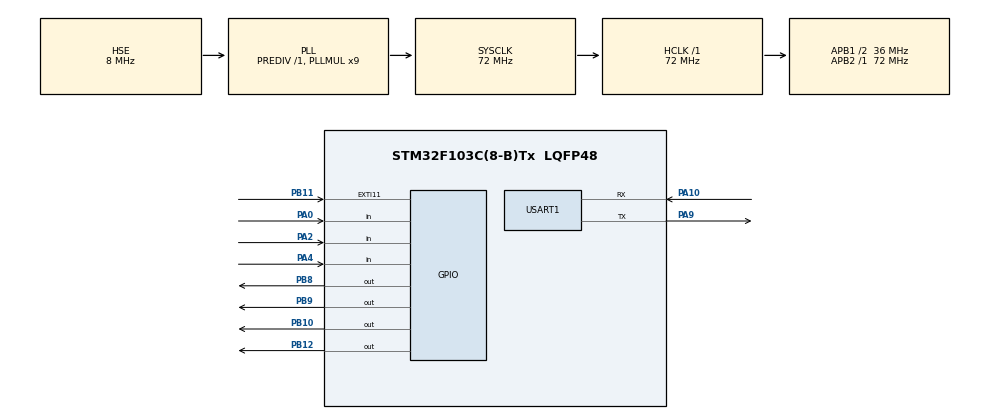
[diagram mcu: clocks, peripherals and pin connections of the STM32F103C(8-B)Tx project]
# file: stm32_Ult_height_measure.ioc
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Mcu.Family=STM32F1
Mcu.Name=STM32F103C(8-B)Tx
Mcu.Package=LQFP48
NVIC.EXTI15_10_IRQn=true\:0\:0\:true\:false\:true\:true\:true\:true
NVIC.PriorityGroup=NVIC_PRIORITYGROUP_4
NVIC.TIM2_IRQn=true\:0\:0\:false\:false\:true\:true\:true\:true
NVIC.TIM3_IRQn=true\:0\:0\:false\:false\:true\:true\:true\:true
NVIC.TIM4_IRQn=true\:0\:0\:false\:false\:true\:true\:true\:true
PA0-WKUP.GPIO_PuPd=GPIO_PULLUP
PA0-WKUP.Signal=GPIO_Input
PA10.Mode=Asynchronous
PA10.Signal=USART1_RX
PA13.Mode=Serial_Wire
PA13.Signal=SYS_JTMS-SWDIO
PA14.Mode=Serial_Wire
PA14.Signal=SYS_JTCK-SWCLK
PA2.GPIO_PuPd=GPIO_PULLUP
PA2.Signal=GPIO_Input
PA4.GPIO_PuPd=GPIO_PULLUP
PA4.Signal=GPIO_Input
PA9.Mode=Asynchronous
PA9.Signal=USART1_TX
PB10.GPIO_PuPd=GPIO_NOPULL
PB10.Signal=GPIO_Output
PB11.GPIO_ModeDefaultEXTI=GPIO_MODE_IT_RISING_FALLING
PB11.GPIO_PuPd=GPIO_PULLDOWN
PB11.Signal=GPXTI11
PB12.GPIO_PuPd=GPIO_PULLUP
PB12.Signal=GPIO_Output
PB8.GPIO_ModeDefaultOutputPP=GPIO_MODE_OUTPUT_OD
PB8.GPIO_PuPd=GPIO_NOPULL
PB8.Signal=GPIO_Output
PB9.GPIO_ModeDefaultOutputPP=GPIO_MODE_OUTPUT_OD
PB9.GPIO_PuPd=GPIO_NOPULL
PB9.Signal=GPIO_Output
PD0-OSC_IN.Mode=HSE-External-Oscillator
PD0-OSC_IN.Signal=RCC_OSC_IN
PD1-OSC_OUT.Mode=HSE-External-Oscillator
PD1-OSC_OUT.Signal=RCC_OSC_OUT
ProjectManager.HeapSize=0x200
ProjectManager.StackSize=0x400
ProjectManager.TargetToolchain=STM32CubeIDE
RCC.AHBFreq_Value=72000000
RCC.APB1CLKDivider=RCC_HCLK_DIV2
RCC.APB1Freq_Value=36000000
RCC.APB1TimFreq_Value=72000000
RCC.APB2Freq_Value=72000000
RCC.APB2TimFreq_Value=72000000
RCC.HCLKFreq_Value=72000000
RCC.PLLMUL=RCC_PLL_MUL9
RCC.PLLSourceVirtual=RCC_PLLSOURCE_HSE
RCC.SYSCLKFreq_VALUE=72000000
RCC.SYSCLKSource=RCC_SYSCLKSOURCE_PLLCLK
RCC.USBFreq_Value=72000000
TIM1.Prescaler=72
TIM3.AutoReloadPreload=TIM_AUTORELOAD_PRELOAD_ENABLE
TIM3.Period=100 - 1
TIM3.Prescaler=\ 720 - 1
TIM4.AutoReloadPreload=TIM_AUTORELOAD_PRELOAD_ENABLE
TIM4.Period=10000 - 1
TIM4.Prescaler=7200 - 1
USART1.VirtualMode=VM_ASYNC
VP_TIM1_VS_ClockSourceINT.Mode=Internal
VP_TIM2_VS_ClockSourceINT.Mode=Internal
VP_TIM3_VS_ClockSourceINT.Mode=Internal
VP_TIM4_VS_ClockSourceINT.Mode=Internal
board=custom

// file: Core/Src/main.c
/* USER CODE BEGIN Header */
/**
  ******************************************************************************
  * @file           : main.c
  * @brief          : Main program body
  ******************************************************************************
  * @attention
  *
  * Copyright (c) 2026 STMicroelectronics.
  * All rights reserved.
  *
  * This software is licensed under terms that can be found in the LICENSE file
  * in the root directory of this software component.
  * If no LICENSE file comes with this software, it is provided AS-IS.
  *
  ******************************************************************************
  */
/* USER CODE END Header */
#include "main.h"
#include "tim.h"
#include "usart.h"
#include "gpio.h"

/* USER CODE BEGIN Includes */
#include "OLED.h"
#include "key.h"
#include "menu.h"
#include "SR_04.h"
/* USER CODE END Includes */

/* USER CODE BEGIN PV */
uint32_t distance = 0;
uint8_t countcount = 0;
uint8_t KeyNum1;
uint8_t shutdown_flag = 0;//息屏标志位

extern uint8_t Mode_Flag;
//volatile
float single_height_data[3] = {0};
float multi_height_data[3] = {0};
uint8_t sec_count = 0;//无操作计时

volatile uint8_t Home_Flag = First_Home;
uint8_t Home_Flag_Record = First_Home;//用于回到息屏前的界面

/* USER CODE END PV */

void SystemClock_Config(void);

int main(void)
{

  /* MCU Configuration--------------------------------------------------------*/

  /* Reset of all peripherals, Initializes the Flash interface and the Systick. */
  HAL_Init();

  /* Configure the system clock */
  SystemClock_Config();

  /* Initialize all configured peripherals */
  MX_GPIO_Init();
  MX_TIM1_Init();
  MX_TIM2_Init();
  MX_TIM3_Init();
  MX_USART1_UART_Init();
  MX_TIM4_Init();
  /* USER CODE BEGIN 2 */
  OLED_Init();
  OLED_Clear();
  HAL_TIM_Base_Start_IT(&htim3);
  HAL_TIM_Base_Start_IT(&htim4);
  HAL_GPIO_WritePin(GPIOB, GPIO_PIN_12, GPIO_PIN_SET);//关闭蜂鸣器

  /* USER CODE END 2 */

  /* Infinite loop */
  /* USER CODE BEGIN WHILE */
  while (1)
  {
//	  KeyNum1 = Key_GetNum();
//	  if (KeyNum1 == 3)
//	  {
//	  	  SR_04_Start();
//	  	  HAL_Delay(200);
//	  	  OLED_ShowNum(0, 0, distance, 5, OLED_8X16);
//	  	  OLED_Update();
//	  	  HAL_Delay(1000);
//	  }
	  switch(Home_Flag)
	  {
		  uint8_t Temp;
		  case First_Home:
			  Temp = First_Page_Home();
			  if(Temp == 1){Home_Flag = Mode_Select;Home_Flag_Record = Mode_Select;}
			  else if (Temp == 2){Home_Flag = Show_Data_Mode;Home_Flag_Record = Show_Data_Mode;}
			  else if (Temp == 3){Home_Flag = shutdown;}
			  break;
		  case Mode_Select:
			  Temp = Mode_Select_Home();
			  if (Temp == 1){Home_Flag = First_Home;Home_Flag_Record = First_Home;}
			  else if (Temp == 2){Home_Flag = Single_Mode;Mode_Flag = 1;Home_Flag_Record = Single_Mode;}
			  else if (Temp == 3){Home_Flag = Multi_Mode;Mode_Flag = 2;Home_Flag_Record = Multi_Mode;}
			  break;
		  case Single_Mode:
			  Temp = Single_Mode_Home();
			  if (Temp == 1){Home_Flag = Mode_Select;Home_Flag_Record = Mode_Select;}
			  else if (Temp == 3){Home_Flag = Show_Data; Mode_Flag = 1;Home_Flag_Record = Show_Data;}
			  break;
		  case Multi_Mode:
			  Temp = Multi_Mode_Home();
			  if (Temp == 1){Home_Flag = Mode_Select;Home_Flag_Record = Mode_Select;}
			  else if (Temp == 3){Home_Flag = Show_Data; Mode_Flag = 2;Home_Flag_Record = Show_Data;}
			  break;
		  case Show_Data:
			  Temp = Single_Data_Home(Mode_Flag);
			  if (Temp == 1){Home_Flag = Temp; Home_Flag_Record = First_Home;}
			  break;
		  case Show_Data_Mode:
			  Temp = Select_Data_Home();
			  if (Temp == 1){Home_Flag = First_Home;Home_Flag_Record = First_Home;}
			  else if (Temp == 2){Home_Flag = Show_Data; Mode_Flag = 1;Home_Flag_Record = Show_Data;}
			  else if (Temp == 3){Home_Flag = Show_Data; Mode_Flag = 2;Home_Flag_Record = Show_Data;}
			  break;
		  case shutdown:
//			  OLED_Clear();
//			  OLED_ShowNum(1,1,1,1,OLED_8X16);
			  OLED_Clear();
			  OLED_Update();
			  break;
	  }
    /* USER CODE END WHILE */

  }
}

void SystemClock_Config(void)
{
  RCC_OscInitTypeDef RCC_OscInitStruct = {0};
  RCC_ClkInitTypeDef RCC_ClkInitStruct = {0};

  /** Initializes the RCC Oscillators according to the specified parameters
  * in the RCC_OscInitTypeDef structure.
  */
  RCC_OscInitStruct.OscillatorType = RCC_OSCILLATORTYPE_HSE;
  RCC_OscInitStruct.HSEState = RCC_HSE_ON;
  RCC_OscInitStruct.HSEPredivValue = RCC_HSE_PREDIV_DIV1;
  RCC_OscInitStruct.HSIState = RCC_HSI_ON;
  RCC_OscInitStruct.PLL.PLLState = RCC_PLL_ON;
  RCC_OscInitStruct.PLL.PLLSource = RCC_PLLSOURCE_HSE;
  RCC_OscInitStruct.PLL.PLLMUL = RCC_PLL_MUL9;
  if (HAL_RCC_OscConfig(&RCC_OscInitStruct) != HAL_OK)
  {
    Error_Handler();
  }

  /** Initializes the CPU, AHB and APB buses clocks
  */
  RCC_ClkInitStruct.ClockType = RCC_CLOCKTYPE_HCLK|RCC_CLOCKTYPE_SYSCLK
                              |RCC_CLOCKTYPE_PCLK1|RCC_CLOCKTYPE_PCLK2;
  RCC_ClkInitStruct.SYSCLKSource = RCC_SYSCLKSOURCE_PLLCLK;
  RCC_ClkInitStruct.AHBCLKDivider = RCC_SYSCLK_DIV1;
  RCC_ClkInitStruct.APB1CLKDivider = RCC_HCLK_DIV2;
  RCC_ClkInitStruct.APB2CLKDivider = RCC_HCLK_DIV1;

  if (HAL_RCC_ClockConfig(&RCC_ClkInitStruct, FLASH_LATENCY_2) != HAL_OK)
  {
    Error_Handler();
  }
}

/* USER CODE BEGIN 4 */
void HAL_GPIO_EXTI_Callback(uint16_t GPIO_Pin)
{
	if(GPIO_Pin == GPIO_PIN_11)
	{
		GPIO_PinState pinState = HAL_GPIO_ReadPin(GPIOB, GPIO_PIN_11);
		if(pinState == GPIO_PIN_SET)
		{
			countcount++;
			  HAL_UART_Transmit(&huart1, &countcount, 1, HAL_MAX_DELAY);
			__HAL_TIM_SET_COUNTER(&htim1, 0);
			HAL_TIM_Base_Start(&htim1);
		}
		else
		{
			HAL_TIM_Base_Stop(&htim1);
			uint32_t count = __HAL_TIM_GET_COUNTER(&htim1);
			distance = count * 0.34 / 2;
			HAL_GPIO_WritePin(GPIOB, GPIO_PIN_12, GPIO_PIN_SET);//关闭蜂鸣器
		}
	}
}

void HAL_TIM_PeriodElapsedCallback(TIM_HandleTypeDef *htim)
{

	if(htim->Instance == TIM3)
	{
			Key_Tick();
	}
	if (htim->Instance == TIM4)
	{
		sec_count++;
		if (sec_count >= 30)
		{
			shutdown_flag = 1;
			sec_count = 0;
//			OLED_Clear();
		}
	}
}
/* USER CODE END 4 */

void Error_Handler(void)
{
  __disable_irq();
  while (1)
  {
  }
}
